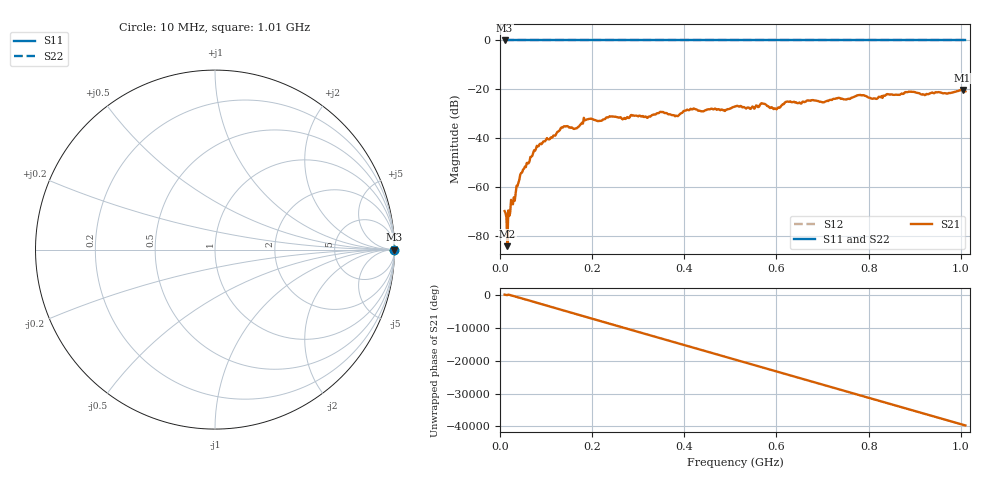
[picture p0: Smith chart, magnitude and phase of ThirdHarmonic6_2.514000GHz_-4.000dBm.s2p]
! 8/17/2025 4:54:15 AM
! C:\ANRITSUVNA\TEMP\TEMP.S2P
! CHANNEL.1
! TR.MEASUREMENT
! RAW.DATA
! RF.CORRECTION.OFF
! AVERAGING.OFF
! IF.BANDWIDTH: 5KHZ
! SWEEPTYPE:  FREQ.SWEEP(Linear)
! Reference Plane Port Info
! PORT:  PORT1  PORT2
! DISTANCE:  0  m  0  m
! TIME:  0  s  0  s
! PHASE.OFFSET:  0  deg.  0  deg.
! LOSS:  0  dB  0  dB
! REF.LOSS:  0  dB  0  dB
! REF.FREQ:  0  Hz  0  Hz
! Power Info
! POWER:  -20  dBm  -20  dBm
! EFF.POWER:  -20  dBm  -20  dBm
! SOURCE.ATTEN:  0  dB  0  dB
! TEST.ATTEN:  0  dB  0  dB
# GHZ S RI R 50.0
! FREQ.GHZ  S11RE  S11IM  S21RE  S21IM  S12RE  S12IM  S22RE  S22IM
!; PortSelection: Port_12
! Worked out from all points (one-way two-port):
!   501 points, 10 MHz to 1.01 GHz, reference 50 ohm
!   highest |S21| = -20.25 dB at 1.004 GHz (marker M1); lowest = -84.3 dB at 16 MHz (marker M2)
!   lowest |S11| = 0.0 dB at 10 MHz (marker M3)
!   |S11| at or under -10 dB: nowhere
!   |S22| runs from 0.0 to 0.0 dB; largest |S21 - S12| = 1.1
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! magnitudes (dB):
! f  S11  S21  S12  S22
! 10 MHz  0.0  -69.9  0.0  0.0
! 16 MHz  0.0  -84.3  0.0  0.0
! 46 MHz  0.0  -54.3  0.0  0.0
! 78 MHz  0.0  -44.4  0.0  0.0
! 136 MHz  0.0  -35.7  0.0  0.0
! 164 MHz  0.0  -36.0  0.0  0.0
! 178 MHz  0.0  -33.7  0.0  0.0
! 344 MHz  0.0  -29.8  0.0  0.0
! 384 MHz  0.0  -30.9  0.0  0.0
! 418 MHz  0.0  -28.2  0.0  0.0
! 488 MHz  0.0  -28.9  0.0  0.0
! 510 MHz  0.0  -27.0  0.0  0.0
! 548 MHz  0.0  -27.0  0.0  0.0
! 570 MHz  0.0  -25.8  0.0  0.0
! 598 MHz  0.0  -27.9  0.0  0.0
! 622 MHz  0.0  -25.1  0.0  0.0
! 678 MHz  0.0  -24.4  0.0  0.0
! 780 MHz  0.0  -22.4  0.0  0.0
! 814 MHz  0.0  -23.8  0.0  0.0
! 844 MHz  0.0  -22.1  0.0  0.0
! 1.004 GHz  0.0  -20.3  0.0  0.0
! 1.01 GHz  0.0  -20.8  0.0  0.0
